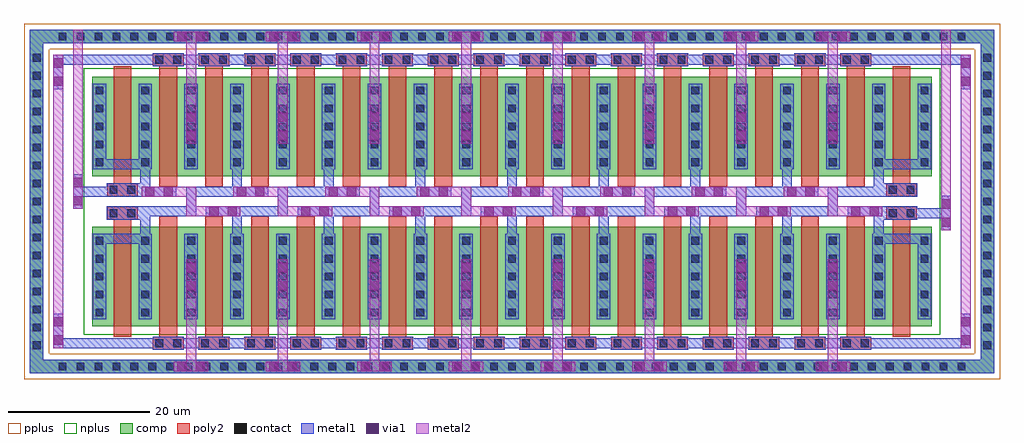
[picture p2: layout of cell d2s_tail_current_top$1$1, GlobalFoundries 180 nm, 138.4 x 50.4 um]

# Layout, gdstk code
from math import pi, radians
import gdstk
lib = gdstk.Library(unit=1e-6, precision=1e-09)
def R(c, l, rs):  # rectangles x0, y0, x1, y1
    for r in rs: c.add(gdstk.rectangle(r[:2], r[2:], *l))
def A(c, l, x, y, w, h, nx, ny, dx, dy):  # array of equal rectangles
    R(c, l, [(x+i*dx, y+j*dy, x+i*dx+w, y+j*dy+h) for i in range(nx) for j in range(ny)])
comp = (22, 0)
poly2 = (30, 0)
pplus = (31, 0)
nplus = (32, 0)
contact = (33, 0)
metal1 = (34, 0)
via1 = (35, 0)
metal2 = (36, 0)

m1_m2_1_1 = lib.new_cell('M1_M2$1$1')
R(m1_m2_1_1, via1, [(0.5,0.05,1.8,1.35), (3.1,0.05,4.4,1.35)])
m1_m2_1_1.add(gdstk.FlexPath([(0,0.7),(4.9,0.7)], 1.4, ends="flush", simple_path=True, layer=34, datatype=0))  # metal1
m1_m2_1_1.add(gdstk.FlexPath([(0,0.7),(4.9,0.7)], 1.4, ends="flush", simple_path=True, layer=36, datatype=0))  # metal2

d2s_tail_current_ncell_1 = lib.new_cell('d2s_tail_current_ncell_1$1$1$1$1$1')
R(d2s_tail_current_ncell_1, comp, [(0,1.5,2.1,15.6), (2.1,1.5,6.5,15.6), (6.5,1.5,8.6,15.6)])
R(d2s_tail_current_ncell_1, poly2, [(3.05,0,5.55,17.1)])
A(d2s_tail_current_ncell_1, contact, 0.5, 2.9, 1.1, 1.1, 1, 5, 0, 2.55)
A(d2s_tail_current_ncell_1, contact, 7, 2.9, 1.1, 1.1, 1, 5, 0, 2.55)
R(d2s_tail_current_ncell_1, metal1, [(0.1,2.5,2,14.6), (6.6,2.5,8.5,14.6)])

d2s_tail_current_ncell_4 = lib.new_cell('d2s_tail_current_ncell_4$1$1$1$1')
A(d2s_tail_current_ncell_4, poly2, 2.125, 17.1, 4.35, 1.8, 4, 1, 6.5, 0)
R(d2s_tail_current_ncell_4, contact, [(2.475,17.45,3.575,18.55), (5.025,17.45,6.125,18.55), (8.975,17.45,10.075,18.55), (11.525,17.45,12.625,18.55), (15.475,17.45,16.575,18.55), (18.025,17.45,19.125,18.55), (21.975,17.45,23.075,18.55), (24.525,17.45,25.625,18.55)])
A(d2s_tail_current_ncell_4, metal1, 2.075, 17.05, 4.45, 1.9, 4, 1, 6.5, 0)
d2s_tail_current_ncell_4.add(gdstk.Reference(d2s_tail_current_ncell_1, (0,0)))
d2s_tail_current_ncell_4.add(gdstk.Reference(d2s_tail_current_ncell_1, (6.5,0)))
d2s_tail_current_ncell_4.add(gdstk.Reference(d2s_tail_current_ncell_1, (13,0)))
d2s_tail_current_ncell_4.add(gdstk.Reference(d2s_tail_current_ncell_1, (19.5,0)))

c_d2s_tail_current_ncell_4 = lib.new_cell('d2s_tail_current_ncell_4_4$1$1$1')
R(c_d2s_tail_current_ncell_4, via1, [(5.6,1.15,6.9,2.45), (8.2,1.15,9.5,2.45), (18.6,1.15,19.9,2.45), (21.2,1.15,22.5,2.45), (6.9,12.6,8.2,13.9), (19.9,12.6,21.2,13.9), (6.9,15.2,8.2,16.5), (19.9,15.2,21.2,16.5), (10.15,23.15,11.45,24.45), (12.75,23.15,14.05,24.45), (23.15,23.15,24.45,24.45), (25.75,23.15,27.05,24.45), (1.05,25.95,2.35,27.25), (3.65,25.95,4.95,27.25), (14.05,25.95,15.35,27.25), (16.65,25.95,17.95,27.25), (6.9,33.9,8.2,35.2), (19.9,33.9,21.2,35.2), (6.9,36.5,8.2,37.8), (19.9,36.5,21.2,37.8), (5.6,47.95,6.9,49.25), (8.2,47.95,9.5,49.25), (18.6,47.95,19.9,49.25), (21.2,47.95,22.5,49.25)])
c_d2s_tail_current_ncell_4.add(gdstk.FlexPath([(6.525,5.1),(27.05,5.1)], 1.4, ends="flush", simple_path=True, layer=34, datatype=0))  # metal1
c_d2s_tail_current_ncell_4.add(gdstk.FlexPath([(14.05,29.8),(14.05,27.3)], 1.4, ends="flush", simple_path=True, layer=34, datatype=0))  # metal1
c_d2s_tail_current_ncell_4.add(gdstk.FlexPath([(1.05,48.6),(27.05,48.6)], 1.9, ends="flush", simple_path=True, layer=34, datatype=0))  # metal1
c_d2s_tail_current_ncell_4.add(gdstk.FlexPath([(14.05,20.6),(14.05,23.1)], 1.4, ends="flush", simple_path=True, layer=34, datatype=0))  # metal1
c_d2s_tail_current_ncell_4.add(gdstk.FlexPath([(1.05,20.6),(1.05,23.1)], 1.4, ends="flush", simple_path=True, layer=34, datatype=0))  # metal1
c_d2s_tail_current_ncell_4.add(gdstk.FlexPath([(1.05,29.8),(1.05,27.3)], 1.4, ends="flush", simple_path=True, layer=34, datatype=0))  # metal1
c_d2s_tail_current_ncell_4.add(gdstk.FlexPath([(14.55,26.6),(7.55,26.6),(7.55,23.8),(0.35,23.8)], 1.4, ends="flush", simple_path=True, layer=34, datatype=0))  # metal1
c_d2s_tail_current_ncell_4.add(gdstk.FlexPath([(5.45,26.6),(0.35,26.6)], 1.4, ends="flush", simple_path=True, layer=34, datatype=0))  # metal1
c_d2s_tail_current_ncell_4.add(gdstk.FlexPath([(27.05,20.6),(27.05,23.1)], 1.4, ends="flush", simple_path=True, layer=34, datatype=0))  # metal1
c_d2s_tail_current_ncell_4.add(gdstk.FlexPath([(27.75,26.6),(20.55,26.6),(20.55,23.8),(13.55,23.8)], 1.4, ends="flush", simple_path=True, layer=34, datatype=0))  # metal1
c_d2s_tail_current_ncell_4.add(gdstk.FlexPath([(18.45,26.6),(13.55,26.6)], 1.4, ends="flush", simple_path=True, layer=34, datatype=0))  # metal1
c_d2s_tail_current_ncell_4.add(gdstk.FlexPath([(27.05,29.8),(27.05,27.3)], 1.4, ends="flush", simple_path=True, layer=34, datatype=0))  # metal1
c_d2s_tail_current_ncell_4.add(gdstk.FlexPath([(14.05,20.6),(14.05,23.1)], 1.4, ends="flush", simple_path=True, layer=34, datatype=0))  # metal1
c_d2s_tail_current_ncell_4.add(gdstk.FlexPath([(27.75,23.8),(22.65,23.8)], 1.4, ends="flush", simple_path=True, layer=34, datatype=0))  # metal1
c_d2s_tail_current_ncell_4.add(gdstk.FlexPath([(14.05,29.8),(14.05,27.3)], 1.4, ends="flush", simple_path=True, layer=34, datatype=0))  # metal1
c_d2s_tail_current_ncell_4.add(gdstk.FlexPath([(14.55,23.8),(9.65,23.8)], 1.4, ends="flush", simple_path=True, layer=34, datatype=0))  # metal1
c_d2s_tail_current_ncell_4.add(gdstk.FlexPath([(6.525,45.3),(27.05,45.3)], 1.4, ends="flush", simple_path=True, layer=34, datatype=0))  # metal1
c_d2s_tail_current_ncell_4.add(gdstk.FlexPath([(1.05,1.8),(27.05,1.8)], 1.9, ends="flush", simple_path=True, layer=34, datatype=0))  # metal1
c_d2s_tail_current_ncell_4.add(gdstk.FlexPath([(1.05,48.6),(27.05,48.6)], 1.9, ends="flush", simple_path=True, layer=22, datatype=0))  # comp
c_d2s_tail_current_ncell_4.add(gdstk.FlexPath([(1.05,1.8),(27.05,1.8)], 1.9, ends="flush", simple_path=True, layer=22, datatype=0))  # comp
c_d2s_tail_current_ncell_4.add(gdstk.FlexPath([(14.55,23.8),(7.55,23.8),(7.55,26.6),(0.55,26.6)], 1.4, ends="flush", simple_path=True, layer=36, datatype=0))  # metal2
c_d2s_tail_current_ncell_4.add(gdstk.FlexPath([(27.55,23.8),(20.55,23.8),(20.55,26.6),(13.55,26.6)], 1.4, ends="flush", simple_path=True, layer=36, datatype=0))  # metal2
c_d2s_tail_current_ncell_4.add(gdstk.FlexPath([(20.55,33.4),(20.55,38.3)], 1.4, ends="flush", simple_path=True, layer=36, datatype=0))  # metal2
c_d2s_tail_current_ncell_4.add(gdstk.FlexPath([(7.55,33.4),(7.55,38.3)], 1.4, ends="flush", simple_path=True, layer=36, datatype=0))  # metal2
c_d2s_tail_current_ncell_4.add(gdstk.FlexPath([(20.55,12.1),(20.55,17)], 1.4, ends="flush", simple_path=True, layer=36, datatype=0))  # metal2
c_d2s_tail_current_ncell_4.add(gdstk.FlexPath([(7.55,12.1),(7.55,17)], 1.4, ends="flush", simple_path=True, layer=36, datatype=0))  # metal2
c_d2s_tail_current_ncell_4.add(gdstk.FlexPath([(5.1,48.6),(10,48.6)], 1.4, ends="flush", simple_path=True, layer=36, datatype=0))  # metal2
c_d2s_tail_current_ncell_4.add(gdstk.FlexPath([(7.55,38.3),(7.55,47.9)], 1.4, ends="flush", simple_path=True, layer=36, datatype=0))  # metal2
c_d2s_tail_current_ncell_4.add(gdstk.FlexPath([(20.55,38.3),(20.55,47.9)], 1.4, ends="flush", simple_path=True, layer=36, datatype=0))  # metal2
c_d2s_tail_current_ncell_4.add(gdstk.FlexPath([(18.1,48.6),(23,48.6)], 1.4, ends="flush", simple_path=True, layer=36, datatype=0))  # metal2
c_d2s_tail_current_ncell_4.add(gdstk.FlexPath([(5.1,1.8),(10,1.8)], 1.4, ends="flush", simple_path=True, layer=36, datatype=0))  # metal2
c_d2s_tail_current_ncell_4.add(gdstk.FlexPath([(7.55,12.1),(7.55,2.5)], 1.4, ends="flush", simple_path=True, layer=36, datatype=0))  # metal2
c_d2s_tail_current_ncell_4.add(gdstk.FlexPath([(20.55,12.1),(20.55,2.5)], 1.4, ends="flush", simple_path=True, layer=36, datatype=0))  # metal2
c_d2s_tail_current_ncell_4.add(gdstk.FlexPath([(18.1,1.8),(23,1.8)], 1.4, ends="flush", simple_path=True, layer=36, datatype=0))  # metal2
c_d2s_tail_current_ncell_4.add(gdstk.FlexPath([(1.05,48.6),(27.05,48.6)], 3.6, ends="flush", simple_path=True, layer=31, datatype=0))  # pplus
c_d2s_tail_current_ncell_4.add(gdstk.FlexPath([(1.05,1.8),(27.05,1.8)], 3.6, ends="flush", simple_path=True, layer=31, datatype=0))  # pplus
c_d2s_tail_current_ncell_4.add(gdstk.Reference(d2s_tail_current_ncell_4, (0,27.3)))
c_d2s_tail_current_ncell_4.add(gdstk.Reference(d2s_tail_current_ncell_4, (0,23.1), x_reflection=True))

c_d2s_tail_current_ncell_1 = lib.new_cell('d2s_tail_current_ncell_1$2$1$1')
R(c_d2s_tail_current_ncell_1, comp, [(0,1.5,2.1,15.6), (2.1,1.5,6.5,15.6), (6.5,1.5,8.6,15.6)])
R(c_d2s_tail_current_ncell_1, poly2, [(3.05,0,5.55,17.1)])
A(c_d2s_tail_current_ncell_1, contact, 0.5, 2.9, 1.1, 1.1, 1, 5, 0, 2.55)
A(c_d2s_tail_current_ncell_1, contact, 7, 2.9, 1.1, 1.1, 1, 5, 0, 2.55)
R(c_d2s_tail_current_ncell_1, metal1, [(0.1,2.5,2,14.6), (6.6,2.5,8.5,14.6)])

d2s_tail_current_top_1_1 = lib.new_cell('d2s_tail_current_top$1$1')
R(d2s_tail_current_top_1_1, poly2, [(11.775,22.65,16.125,24.45), (122.275,22.65,126.625,24.45), (11.775,25.95,16.125,27.75), (122.275,25.95,126.625,27.75)])
R(d2s_tail_current_top_1_1, nplus, [(8.45,6.3,129.95,44.1)])
A(d2s_tail_current_top_1_1, contact, 4.9, 1.25, 1.1, 1.1, 51, 2, 2.55, 46.8)
A(d2s_tail_current_top_1_1, contact, 1.25, 4.25, 1.1, 1.1, 1, 17, 0, 2.55)
A(d2s_tail_current_top_1_1, contact, 136.05, 4.25, 1.1, 1.1, 1, 17, 0, 2.55)
R(d2s_tail_current_top_1_1, contact, [(12.125,23,13.225,24.1), (14.675,23,15.775,24.1), (122.625,23,123.725,24.1), (125.175,23,126.275,24.1), (12.125,26.3,13.225,27.4), (14.675,26.3,15.775,27.4), (122.625,26.3,123.725,27.4), (125.175,26.3,126.275,27.4)])
R(d2s_tail_current_top_1_1, metal1, [(11.725,22.6,16.175,24.5), (16.175,22.6,16.5,24.5), (121.9,22.6,122.225,24.5), (122.225,22.6,126.675,24.5), (11.725,25.9,16.175,27.8), (16.175,25.9,16.5,27.8), (121.9,25.9,122.225,27.8), (122.225,25.9,126.675,27.8)])
d2s_tail_current_top_1_1.add(gdstk.FlexPath([(121.2,48.6),(136.6,48.6),(136.6,1.8),(121.2,1.8)], 1.9, ends="flush", simple_path=True, layer=34, datatype=0))  # metal1
d2s_tail_current_top_1_1.add(gdstk.FlexPath([(17.2,48.6),(1.8,48.6),(1.8,1.8),(17.2,1.8)], 1.9, ends="flush", simple_path=True, layer=34, datatype=0))  # metal1
d2s_tail_current_top_1_1.add(gdstk.FlexPath([(68.175,45.3),(70.225,45.3)], 1.4, ends="flush", simple_path=True, layer=34, datatype=0))  # metal1
d2s_tail_current_top_1_1.add(gdstk.FlexPath([(68.175,5.1),(70.225,5.1)], 1.4, ends="flush", simple_path=True, layer=34, datatype=0))  # metal1
d2s_tail_current_top_1_1.add(gdstk.FlexPath([(126.75,30.5),(122.15,30.5)], 1.4, ends="flush", simple_path=True, layer=34, datatype=0))  # metal1
d2s_tail_current_top_1_1.add(gdstk.FlexPath([(126.75,19.9),(122.15,19.9)], 1.4, ends="flush", simple_path=True, layer=34, datatype=0))  # metal1
d2s_tail_current_top_1_1.add(gdstk.FlexPath([(11.65,30.5),(16.25,30.5)], 1.4, ends="flush", simple_path=True, layer=34, datatype=0))  # metal1
d2s_tail_current_top_1_1.add(gdstk.FlexPath([(11.65,19.9),(16.25,19.9)], 1.4, ends="flush", simple_path=True, layer=34, datatype=0))  # metal1
d2s_tail_current_top_1_1.add(gdstk.FlexPath([(11.725,26.6),(8.35,26.6)], 1.4, ends="flush", simple_path=True, layer=34, datatype=0))  # metal1
d2s_tail_current_top_1_1.add(gdstk.FlexPath([(120.175,45.3),(134.25,45.3)], 1.4, ends="flush", simple_path=True, layer=34, datatype=0))  # metal1
d2s_tail_current_top_1_1.add(gdstk.FlexPath([(120.175,5.1),(134.25,5.1)], 1.4, ends="flush", simple_path=True, layer=34, datatype=0))  # metal1
d2s_tail_current_top_1_1.add(gdstk.FlexPath([(18.225,5.1),(4.15,5.1)], 1.4, ends="flush", simple_path=True, layer=34, datatype=0))  # metal1
d2s_tail_current_top_1_1.add(gdstk.FlexPath([(18.225,45.3),(4.15,45.3)], 1.4, ends="flush", simple_path=True, layer=34, datatype=0))  # metal1
d2s_tail_current_top_1_1.add(gdstk.FlexPath([(126.675,23.55),(130.05,23.55)], 1.4, ends="flush", simple_path=True, layer=34, datatype=0))  # metal1
d2s_tail_current_top_1_1.add(gdstk.FlexPath([(121.2,48.6),(136.6,48.6),(136.6,1.8),(121.2,1.8)], 1.9, ends="flush", simple_path=True, layer=22, datatype=0))  # comp
d2s_tail_current_top_1_1.add(gdstk.FlexPath([(17.2,48.6),(1.8,48.6),(1.8,1.8),(17.2,1.8)], 1.9, ends="flush", simple_path=True, layer=22, datatype=0))  # comp
d2s_tail_current_top_1_1.add(gdstk.FlexPath([(130.75,49.55),(130.75,21.1)], 1.4, ends="flush", simple_path=True, layer=36, datatype=0))  # metal2
d2s_tail_current_top_1_1.add(gdstk.FlexPath([(7.65,49.55),(7.65,24.15)], 1.4, ends="flush", simple_path=True, layer=36, datatype=0))  # metal2
d2s_tail_current_top_1_1.add(gdstk.FlexPath([(133.55,46),(133.55,4.4)], 1.4, ends="flush", simple_path=True, layer=36, datatype=0))  # metal2
d2s_tail_current_top_1_1.add(gdstk.FlexPath([(4.85,46),(4.85,4.4)], 1.4, ends="flush", simple_path=True, layer=36, datatype=0))  # metal2
d2s_tail_current_top_1_1.add(gdstk.FlexPath([(121.2,48.6),(136.6,48.6),(136.6,1.8),(121.2,1.8)], 3.6, ends="flush", simple_path=True, layer=31, datatype=0))  # pplus
d2s_tail_current_top_1_1.add(gdstk.FlexPath([(17.2,48.6),(1.8,48.6),(1.8,1.8),(17.2,1.8)], 3.6, ends="flush", simple_path=True, layer=31, datatype=0))  # pplus
d2s_tail_current_top_1_1.add(gdstk.Reference(m1_m2_1_1, (134.25,41.1), rotation=pi/2))
d2s_tail_current_top_1_1.add(gdstk.Reference(m1_m2_1_1, (131.45,21.1), rotation=pi/2))
d2s_tail_current_top_1_1.add(gdstk.Reference(m1_m2_1_1, (4.15,9.3), rotation=3*pi/2))
d2s_tail_current_top_1_1.add(gdstk.Reference(m1_m2_1_1, (4.15,41.1), rotation=pi/2, x_reflection=True))
d2s_tail_current_top_1_1.add(gdstk.Reference(m1_m2_1_1, (6.95,24.15), rotation=pi/2, x_reflection=True))
d2s_tail_current_top_1_1.add(gdstk.Reference(m1_m2_1_1, (134.25,9.3), rotation=3*pi/2, x_reflection=True))
d2s_tail_current_top_1_1.add(gdstk.Reference(c_d2s_tail_current_ncell_4, (68.15,0)))
d2s_tail_current_top_1_1.add(gdstk.Reference(c_d2s_tail_current_ncell_4, (16.15,0)))
d2s_tail_current_top_1_1.add(gdstk.Reference(c_d2s_tail_current_ncell_4, (70.25,50.4), rotation=pi))
d2s_tail_current_top_1_1.add(gdstk.Reference(c_d2s_tail_current_ncell_4, (122.25,50.4), rotation=pi))
d2s_tail_current_top_1_1.add(gdstk.Reference(c_d2s_tail_current_ncell_1, (120.15,27.3)))
d2s_tail_current_top_1_1.add(gdstk.Reference(c_d2s_tail_current_ncell_1, (120.15,6)))
d2s_tail_current_top_1_1.add(gdstk.Reference(c_d2s_tail_current_ncell_1, (18.25,27.3), rotation=pi, x_reflection=True))
d2s_tail_current_top_1_1.add(gdstk.Reference(c_d2s_tail_current_ncell_1, (18.25,6), rotation=pi, x_reflection=True))

lib.write_gds('d2s_tail_current_top_1_1.gds')
